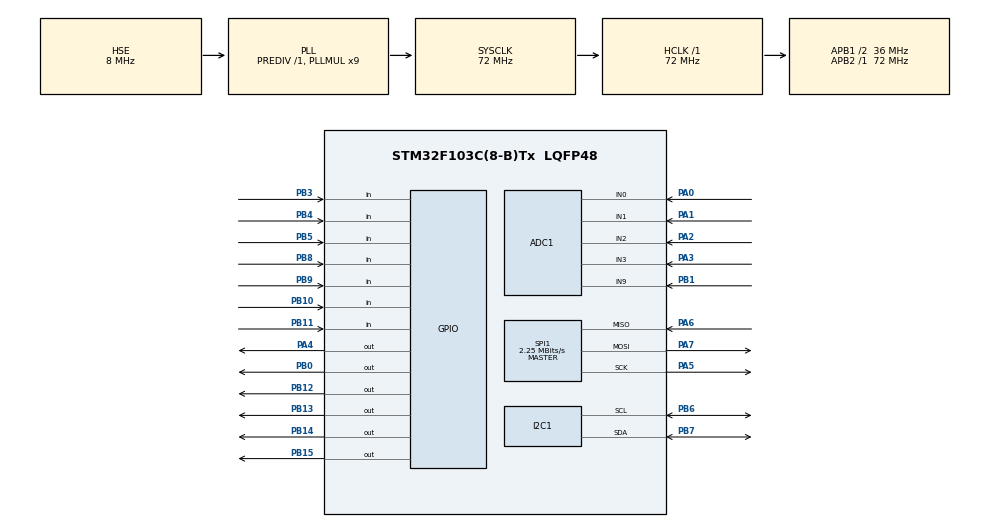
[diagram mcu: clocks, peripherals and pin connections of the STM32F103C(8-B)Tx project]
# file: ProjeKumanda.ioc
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ADC1.Channel-0\#ChannelRegularConversion=ADC_CHANNEL_0
ADC1.Channel-1\#ChannelRegularConversion=ADC_CHANNEL_1
ADC1.Channel-2\#ChannelRegularConversion=ADC_CHANNEL_2
ADC1.Channel-3\#ChannelRegularConversion=ADC_CHANNEL_3
ADC1.Channel-4\#ChannelRegularConversion=ADC_CHANNEL_9
ADC1.ContinuousConvMode=ENABLE
ADC1.NbrOfConversion=5
ADC1.NbrOfConversionFlag=1
ADC1.Rank-0\#ChannelRegularConversion=1
ADC1.Rank-1\#ChannelRegularConversion=2
ADC1.Rank-2\#ChannelRegularConversion=3
ADC1.Rank-3\#ChannelRegularConversion=4
ADC1.Rank-4\#ChannelRegularConversion=5
ADC1.SamplingTime-0\#ChannelRegularConversion=ADC_SAMPLETIME_71CYCLES_5
ADC1.SamplingTime-1\#ChannelRegularConversion=ADC_SAMPLETIME_71CYCLES_5
ADC1.SamplingTime-2\#ChannelRegularConversion=ADC_SAMPLETIME_71CYCLES_5
ADC1.SamplingTime-3\#ChannelRegularConversion=ADC_SAMPLETIME_71CYCLES_5
ADC1.SamplingTime-4\#ChannelRegularConversion=ADC_SAMPLETIME_71CYCLES_5
ADC1.master=1
Dma.ADC1.0.Direction=DMA_PERIPH_TO_MEMORY
Dma.ADC1.0.Instance=DMA1_Channel1
Dma.ADC1.0.MemDataAlignment=DMA_MDATAALIGN_HALFWORD
Dma.ADC1.0.MemInc=DMA_MINC_ENABLE
Dma.ADC1.0.Mode=DMA_CIRCULAR
Dma.ADC1.0.PeriphDataAlignment=DMA_PDATAALIGN_HALFWORD
Dma.ADC1.0.PeriphInc=DMA_PINC_DISABLE
Dma.ADC1.0.Priority=DMA_PRIORITY_LOW
Dma.Request0=ADC1
I2C1.I2C_Mode=I2C_Fast
Mcu.Family=STM32F1
Mcu.Name=STM32F103C(8-B)Tx
Mcu.Package=LQFP48
NVIC.DMA1_Channel1_IRQn=true\:0\:0\:false\:false\:true\:false\:true\:true
NVIC.PriorityGroup=NVIC_PRIORITYGROUP_4
NVIC.TIM2_IRQn=true\:0\:0\:false\:false\:true\:true\:true\:true
PA0-WKUP.Signal=ADCx_IN0
PA1.Signal=ADCx_IN1
PA13.Mode=Serial_Wire
PA13.Signal=SYS_JTMS-SWDIO
PA14.Mode=Serial_Wire
PA14.Signal=SYS_JTCK-SWCLK
PA2.Signal=ADCx_IN2
PA3.Signal=ADCx_IN3
PA4.GPIO_Speed=GPIO_SPEED_FREQ_HIGH
PA4.PinState=GPIO_PIN_SET
PA4.Signal=GPIO_Output
PA5.Mode=Full_Duplex_Master
PA5.Signal=SPI1_SCK
PA6.Mode=Full_Duplex_Master
PA6.Signal=SPI1_MISO
PA7.Mode=Full_Duplex_Master
PA7.Signal=SPI1_MOSI
PB0.GPIO_Speed=GPIO_SPEED_FREQ_LOW
PB0.PinState=GPIO_PIN_RESET
PB0.Signal=GPIO_Output
PB1.Signal=ADCx_IN9
PB10.GPIO_PuPd=GPIO_PULLUP
PB10.Signal=GPIO_Input
PB11.GPIO_PuPd=GPIO_PULLUP
PB11.Signal=GPIO_Input
PB12.Signal=GPIO_Output
PB13.Signal=GPIO_Output
PB14.Signal=GPIO_Output
PB15.Signal=GPIO_Output
PB3.GPIO_PuPd=GPIO_PULLUP
PB3.Signal=GPIO_Input
PB4.GPIO_PuPd=GPIO_PULLUP
PB4.Signal=GPIO_Input
PB5.GPIO_PuPd=GPIO_PULLUP
PB5.Signal=GPIO_Input
PB6.Mode=I2C
PB6.Signal=I2C1_SCL
PB7.Mode=I2C
PB7.Signal=I2C1_SDA
PB8.GPIO_PuPd=GPIO_PULLUP
PB8.Signal=GPIO_Input
PB9.GPIO_PuPd=GPIO_PULLUP
PB9.Signal=GPIO_Input
PD0-OSC_IN.Mode=HSE-External-Oscillator
PD0-OSC_IN.Signal=RCC_OSC_IN
PD1-OSC_OUT.Mode=HSE-External-Oscillator
PD1-OSC_OUT.Signal=RCC_OSC_OUT
ProjectManager.HeapSize=0x200
ProjectManager.StackSize=0x400
ProjectManager.TargetToolchain=STM32CubeIDE
RCC.ADCPresc=RCC_ADCPCLK2_DIV6
RCC.AHBFreq_Value=72000000
RCC.APB1CLKDivider=RCC_HCLK_DIV2
RCC.APB1Freq_Value=36000000
RCC.APB1TimFreq_Value=72000000
RCC.APB2Freq_Value=72000000
RCC.APB2TimFreq_Value=72000000
RCC.HCLKFreq_Value=72000000
RCC.PLLMUL=RCC_PLL_MUL9
RCC.PLLSourceVirtual=RCC_PLLSOURCE_HSE
RCC.SYSCLKFreq_VALUE=72000000
RCC.SYSCLKSource=RCC_SYSCLKSOURCE_PLLCLK
RCC.USBFreq_Value=72000000
SH.ADCx_IN0.0=ADC1_IN0,IN0
SH.ADCx_IN1.0=ADC1_IN1,IN1
SH.ADCx_IN2.0=ADC1_IN2,IN2
SH.ADCx_IN3.0=ADC1_IN3,IN3
SH.ADCx_IN9.0=ADC1_IN9,IN9
SPI1.BaudRatePrescaler=SPI_BAUDRATEPRESCALER_32
SPI1.CLKPhase=SPI_PHASE_1EDGE
SPI1.CalculateBaudRate=2.25 MBits/s
SPI1.Direction=SPI_DIRECTION_2LINES
SPI1.Mode=SPI_MODE_MASTER
SPI1.VirtualType=VM_MASTER
TIM1.Prescaler=71
TIM2.Period=199
TIM2.Prescaler=7199
VP_TIM1_VS_ClockSourceINT.Mode=Internal
VP_TIM2_VS_ClockSourceINT.Mode=Internal
board=custom

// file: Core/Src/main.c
/* USER CODE BEGIN Header */
/**
  ******************************************************************************
  * @file           : main.c
  * @brief          : Main program body
  ******************************************************************************
  * @attention
  *
  * Copyright (c) 2026 STMicroelectronics.
  * All rights reserved.
  *
  * This software is licensed under terms that can be found in the LICENSE file
  * in the root directory of this software component.
  * If no LICENSE file comes with this software, it is provided AS-IS.
  *
  ******************************************************************************
  */
/* USER CODE END Header */
#include "main.h"

/* USER CODE BEGIN Includes */
#include "ssd1306.h"
#include <stdio.h>
#include <string.h>
#include <strings.h>
#include "ssd1306_fonts.h"
#include "NRF24.h"
#include "NRF24_reg_addresses.h"
/* USER CODE END Includes */

ADC_HandleTypeDef hadc1;
DMA_HandleTypeDef hdma_adc1;

I2C_HandleTypeDef hi2c1;

SPI_HandleTypeDef hspi1;

TIM_HandleTypeDef htim1;
TIM_HandleTypeDef htim2;

/* USER CODE BEGIN PV */

//JOYSTICKLERDEN GELEN HAM VERİLERİN KAYDEDİLDİĞİ DİZİNİN KODLARI:
uint16_t adc_degerleri[5];

//JOYSTICKLERDEN GELEN HAM VERİLERİN İŞLENDİKTEN SONRAKİ DEĞİŞKENLERİNİN ADLARI:
int16_t ileriGeriDonusum;
int16_t sagSolDonusum;
int16_t onAmortisorDonusum;
int16_t arkaAmortisorDonusum;

//JOYSTICK BUTONLARININ HAFIZA DEĞİŞKENLERİ:
uint8_t solButonBaslangic = 1;
uint8_t sagButonBaslangic = 1;
uint8_t amortisorButonBaslangic = 1;

//JOYSTICK BUTONLARININ SONUÇ DEĞİŞKENLERİ:
uint8_t solButonGuncel = 0;
uint8_t sagButonGuncel = 0;
uint8_t amortisorButonGuncel = 0;

// 4x4 KEYPAD BASILAN TUŞUN KAYDEDİLDİĞİ DEĞİŞKEN:
uint8_t basilanTus = 0;
uint8_t basilanTusEski = 0;
uint8_t keypadBasiliButon[17] = {0};

//BATARYA VOLTAJININ ATANDIĞI DEĞİŞKEN:
float bataryaVoltaji = 0.0f;

//OLED EKRANIN ARAYÜZ KISMININ KODLARI:
uint8_t aktifSayfa = 1;
uint8_t islemBekleyenTus = 0;
uint8_t ayarModu = 0;

//OLED EKRAN İLK SAYFADAKİ DİNAMİK MESAJ DEĞİŞKENİ:
char altBilgiMesaji[25] = "SISTEM HAZIR";

//AYDINLATMA MENÜSÜ DEĞİŞKENLERİ:
uint8_t aydinlatmaDegerleri[9] = {100, 100, 100, 100, 100, 100, 100, 100, 100};
uint8_t aydinlatmaDurumu[9] = {0, 0, 0, 0, 0, 0, 0, 0, 0};
char *aydinlatmaIsimleri[9] = {
    "1.On Farlar", "2.On Sisler", "3.Sag Sinyal",
    "4.Sol Sinyal", "5.Ic Ambiyans", "6.Bagaj Amb.",
    "7.Arka Stop", "8.Arac Alti", "9.Geri Vites"
};

uint8_t aydinlatmaSeciliSatir = 0;
uint8_t ekranUstLimit = 0;
uint8_t amerikanParkDurumu = 0;

//AYDINLATMA MENÜSÜ ÇAKAR MODU DEĞİŞKENLERİ:
uint8_t cakarModuAktif = 0;
uint32_t cakarZamanlayici = 0;
uint8_t cakarFlasor = 0;

//PARK SENSÖRÜ DEĞİŞKENİ:
uint8_t parkSensoru=0;

//NRF24L01 HABERLEŞME DEĞİŞKENLERİ:
typedef struct __attribute__((packed)) {
    uint8_t guvenlikKodu;      // 1 Byte
    int16_t ileriGeri;         // 2 Byte
    int16_t sagSol;            // 2 Byte
    int16_t onAmortisor;       // 2 Byte
    int16_t arkaAmortisor;     // 2 Byte
    uint8_t isikDurumlari[9];  // 9 Byte
    uint8_t isikParlaklik[9];  // 9 Byte
    uint8_t ekstraButonlar;    // 1 Byte
    uint8_t bosluk[4];         // 4 Byte
} KumandaVerisi;

KumandaVerisi gidenPaket;

//ARAÇTAN GELECEK OLAN TELEMETRİ VERİSİ KISMININ KODLARI:
typedef struct {
    float aracPili;
} TelemetriVerisi;

TelemetriVerisi gelenTelemetri;

uint8_t TxAddress[] = {0xEE, 0xDD, 0xCC, 0xBB, 0xAA};

uint8_t sinyalSeviyesi = 4;
uint16_t kayipPaketSayaci = 0;
/* USER CODE END PV */

void SystemClock_Config(void);
static void MX_GPIO_Init(void);
static void MX_DMA_Init(void);
static void MX_ADC1_Init(void);
static void MX_I2C1_Init(void);
static void MX_SPI1_Init(void);
static void MX_TIM2_Init(void);
static void MX_TIM1_Init(void);
/* USER CODE BEGIN PFP */
int32_t donusumFonksiyonu(int32_t anlikDeger, int32_t minimumGiris, int32_t maksimumGiris, int32_t minimumCikis, int32_t maksimumCikis);
/* USER CODE END PFP */

int main(void)
{

  /* MCU Configuration--------------------------------------------------------*/

  /* Reset of all peripherals, Initializes the Flash interface and the Systick. */
  HAL_Init();

  /* Configure the system clock */
  SystemClock_Config();

  /* Initialize all configured peripherals */
  MX_GPIO_Init();
  MX_DMA_Init();
  MX_ADC1_Init();
  MX_I2C1_Init();
  MX_SPI1_Init();
  MX_TIM2_Init();
  MX_TIM1_Init();
  /* USER CODE BEGIN 2 */
  HAL_ADC_Start_DMA(&hadc1, (uint32_t*)adc_degerleri, 5);
  HAL_TIM_Base_Start_IT(&htim2);
  ssd1306_Init();

    //NRF24 VERİCİ (TX) AYARLARI;
    HAL_GPIO_WritePin(GPIOA, GPIO_PIN_4, GPIO_PIN_SET);
    HAL_Delay(50);

    nrf24_init();
    nrf24_auto_ack_all(1);
    nrf24_auto_retr_limit(10);
    nrf24_auto_retr_delay(2);

    nrf24_tx_pwr(_0dbm);
    nrf24_data_rate(_1mbps);
    nrf24_set_channel(78);
    nrf24_set_crc(en_crc, _1byte);
    nrf24_pipe_pld_size(0, sizeof(KumandaVerisi));

    nrf24_open_tx_pipe(TxAddress);
    nrf24_open_rx_pipe(0, TxAddress);
    nrf24_stop_listen();
  /* USER CODE END 2 */

  /* Infinite loop */
  while (1)
  {

    /* USER CODE BEGIN 3 */

	  //TUŞ KONTROLLERİ VE MENÜ GEZİNTİSİ KISMININ KODU:
	  if(islemBekleyenTus != 0) {

	              //AYAR MODUNDA DEĞİŞKEN SAYFALAR ARASI GEÇİŞİ SAĞLAYAN KOD:
	              if(ayarModu == 0) {

	                  //SAYFALAR ARASI GEÇİŞ KODU:
	                  if(islemBekleyenTus == 12) {
	                      aktifSayfa++;
	                      if(aktifSayfa > 3) aktifSayfa = 1;
	                  }
	                  else if(islemBekleyenTus == 10) {
	                      aktifSayfa--;
	                      if(aktifSayfa < 1) aktifSayfa = 3;
	                  }

	                  //3.SAYFADAYKEN DEVREYE GİREN ALT-ÜST BUTON KISMININ KODU:
	                  else if(aktifSayfa == 3 && islemBekleyenTus == 7) {
	                      if(aydinlatmaSeciliSatir > 0) aydinlatmaSeciliSatir--;
	                      else aydinlatmaSeciliSatir = 8;
	                      if(aydinlatmaSeciliSatir < ekranUstLimit) ekranUstLimit = aydinlatmaSeciliSatir;
	                      else if(aydinlatmaSeciliSatir > ekranUstLimit + 3) ekranUstLimit = aydinlatmaSeciliSatir - 3;
	                  }
	                  else if(aktifSayfa == 3 && islemBekleyenTus == 15) {
	                      if(aydinlatmaSeciliSatir < 8) aydinlatmaSeciliSatir++;
	                      else aydinlatmaSeciliSatir = 0;
	                      if(aydinlatmaSeciliSatir > ekranUstLimit + 3) ekranUstLimit = aydinlatmaSeciliSatir - 3;
	                      else if(aydinlatmaSeciliSatir < ekranUstLimit) ekranUstLimit = aydinlatmaSeciliSatir;
	                  }
	                  else if(aktifSayfa == 3 && islemBekleyenTus == 11) {
	                      ayarModu = 1;
	                  }

	                  //4X4 KEYPAD TUŞLARININ İŞLEVLERİNİN ATANDIĞI KISMIN KODLARI:
	                  //TUŞ 1: ÖN FARLAR
	                  else if(islemBekleyenTus == 1) {
	                      aydinlatmaDurumu[0] = !aydinlatmaDurumu[0];
	                      sprintf(altBilgiMesaji, "FARLAR %s", aydinlatmaDurumu[0] ? "ACIK" : "KAPALI");
	                  }
	                  //TUŞ 2: SİSLER
	                  else if(islemBekleyenTus == 2) {
	                      aydinlatmaDurumu[1] = !aydinlatmaDurumu[1];
	                      sprintf(altBilgiMesaji, "SISLER %s", aydinlatmaDurumu[1] ? "ACIK" : "KAPALI");
	                  }
	                  //TUŞ 3: SAĞ SİNYAL
	                  else if(islemBekleyenTus == 3) {
	                      aydinlatmaDurumu[2] = !aydinlatmaDurumu[2];
	                      sprintf(altBilgiMesaji, "SAG SINYAL %s", aydinlatmaDurumu[2] ? "ACIK" : "KAPALI");
	                  }
	                  //TUŞ 4: SOL SİNYAL
	                  else if(islemBekleyenTus == 4) {
	                      aydinlatmaDurumu[3] = !aydinlatmaDurumu[3];
	                      sprintf(altBilgiMesaji, "SOL SINYAL %s", aydinlatmaDurumu[3] ? "ACIK" : "KAPALI");
	                  }
	                  //TUŞ 5: İÇ AMBİYANS
	                  else if(islemBekleyenTus == 5) {
	                      aydinlatmaDurumu[4] = !aydinlatmaDurumu[4];
	                      sprintf(altBilgiMesaji, "IC AMBIYANS %s", aydinlatmaDurumu[4] ? "ACIK" : "KPL");
	                  }
	                  //TUŞ 6: BAGAJ AMBİYANS
	                  else if(islemBekleyenTus == 6) {
	                      aydinlatmaDurumu[5] = !aydinlatmaDurumu[5];
	                      sprintf(altBilgiMesaji, "BAGAJ %s", aydinlatmaDurumu[5] ? "ACIK" : "KAPALI");
	                  }
	                  //TUŞ 8: ARKA STOP
	                  else if(islemBekleyenTus == 8) {
	                      aydinlatmaDurumu[6] = !aydinlatmaDurumu[6];
	                      sprintf(altBilgiMesaji, "STOPLAR %s", aydinlatmaDurumu[6] ? "ACIK" : "KAPALI");
	                  }
	                  //TUŞ 9: ARAÇ ALTI AYDINLATMA
	                  else if(islemBekleyenTus == 9) {
	                      aydinlatmaDurumu[7] = !aydinlatmaDurumu[7];
	                      sprintf(altBilgiMesaji, "ALT NEON %s", aydinlatmaDurumu[7] ? "ACIK" : "KAPALI");
	                  }
	                  //TUŞ 13: AMERİKAN PARK
	                  else if(islemBekleyenTus == 13) {
	                	  amerikanParkDurumu = !amerikanParkDurumu;
	                	      sprintf(altBilgiMesaji, "AMERIKAN PARK %s", amerikanParkDurumu ? "ACIK" : "KPL");
	                  }
	                  //TUŞ 14: ÇAKAR MODU
	                  else if(islemBekleyenTus == 14) {
	                      cakarModuAktif = !cakarModuAktif;
	                      if(cakarModuAktif) {
	                          sprintf(altBilgiMesaji, "CAKAR MODU AKTIF");
	                      } else {
	                          //ÇAKAR MODUNU KAPATINCA FAR-SİS KOMBİNASYONUNU KAPALI HALE GETİREN KOD:
	                          aydinlatmaDurumu[0] = 0;
	                          aydinlatmaDurumu[1] = 0;
	                          sprintf(altBilgiMesaji, "CAKAR KAPALI");
	                      }
	                  }
	                  else if(islemBekleyenTus == 16) {
	                	  parkSensoru = !parkSensoru;
	                	  sprintf(altBilgiMesaji, "PARK SENSORU %s", parkSensoru ? "ACIK" : "KPL");
	                  }

	              }
	              //AYAR MODUNA GİRİŞ YAPILDIĞINDA SADECE PARLAKLIK AYARININ YAPILABİLDİĞİ KISMIN KODU:
	              else if(ayarModu == 1) {
	                  //PARLAKLIĞI ARTIRAN KOD:
	            	  if(islemBekleyenTus == 12) {
	                      if(aydinlatmaDegerleri[aydinlatmaSeciliSatir] <= 90) {
	                          aydinlatmaDegerleri[aydinlatmaSeciliSatir] += 10;
	                      }
	                  }
	                  //PARLAKLIĞI AZALTAN KOD:
	            	  else if(islemBekleyenTus == 10) {
	                      if(aydinlatmaDegerleri[aydinlatmaSeciliSatir] >= 10) {
	                          aydinlatmaDegerleri[aydinlatmaSeciliSatir] -= 10;
	                      }
	                  }
	                  //AYAR MODUNDAN ÇIKAN TUŞUN KODU:
	            	  else if(islemBekleyenTus == 11) {
	                      ayarModu = 0;
	                  }
	              }

	              islemBekleyenTus = 0;

	        }
                  //GERİ VİTES LAMBASININ YANDIĞI KOD:
	              if(sagSolDonusum < -20) {
	                    aydinlatmaDurumu[8] = 1;
	                } else {
	                    aydinlatmaDurumu[8] = 0;
	                }

	                //ÇAKAR MODU KISMININ KODLARI:
	                if(cakarModuAktif == 1) {

	                    if(HAL_GetTick() - cakarZamanlayici > 70) {
	                        cakarZamanlayici = HAL_GetTick();
	                        cakarFlasor = !cakarFlasor;
                            //FARLARA VE SİSLERE TERLEME YAPTIRAN KISMIN KODU:
	                        aydinlatmaDurumu[0] = cakarFlasor;
	                        aydinlatmaDurumu[1] = !cakarFlasor;
	                    }
	                }

	        //OLED EKRAN ÇİZİMİ KODLARI:
	        ssd1306_Fill(Black);

	        	        //GÖNDERİLECEK VERİ PAKETİNİN HAZIRLANDIĞI KISMIN KODLARI:
	                    gidenPaket.guvenlikKodu = 0x55;
	                    gidenPaket.ileriGeri = ileriGeriDonusum;
	        	        gidenPaket.sagSol = sagSolDonusum;
	        	        gidenPaket.onAmortisor = onAmortisorDonusum;
	        	        gidenPaket.arkaAmortisor = arkaAmortisorDonusum;

	        	        for(int i = 0; i < 9; i++) {
	        	        	gidenPaket.isikDurumlari[i] = aydinlatmaDurumu[i];
	        	        	gidenPaket.isikParlaklik[i] = aydinlatmaDegerleri[i];
	        	        }

	        	        //JOYSTICKLERİN BUTONLARINI VE PARK SENSÖRÜ BUTONUNU TEK BİT İÇERİSİNE SIKIŞTIRMA KISMININ KODLARI:
	        	        gidenPaket.ekstraButonlar = (solButonGuncel) |
	        	        		(sagButonGuncel << 1) |
	        					(amortisorButonGuncel << 2) |
	        					(parkSensoru << 3) |
	        					(amerikanParkDurumu << 4);

	        	        //NRF24 HALF-DUPLEX İLETİŞİM GERÇEKLEŞTİĞİ KISMIN KODLARI:

	        	        //ÖNCE SÜRÜŞ VERİSİNİN GÖNDERİLDİĞİ KISMIN KODLARI:
	        	        nrf24_stop_listen();
	        	        nrf24_pipe_pld_size(0, sizeof(KumandaVerisi));
	        	        nrf24_open_tx_pipe(TxAddress);

	        	        uint8_t hamStatus = nrf24_transmit((uint8_t *)&gidenPaket, sizeof(KumandaVerisi));

	        	        if (hamStatus & (1 << 5)) {
	        	        	kayipPaketSayaci = 0;
	        	        	sinyalSeviyesi = 4;
	        	        } else {
	        	        	kayipPaketSayaci++;

	        	        	if(kayipPaketSayaci > 2)  sinyalSeviyesi = 3;
	        	        	if(kayipPaketSayaci > 5)  sinyalSeviyesi = 2;
	        	        	if(kayipPaketSayaci > 10) sinyalSeviyesi = 1;
	        	        	if(kayipPaketSayaci > 20) {
	        	        		sinyalSeviyesi = 0;
	        	        		if(kayipPaketSayaci > 1000) kayipPaketSayaci = 1000;
	        	        	}
	        	        }

	        	        //SONRASINDA HEMEN ARAÇTAN GELECEK PİL VERİSİNİN DİNLENDİĞİ KISMIN KODLARI:
	        	        nrf24_pipe_pld_size(0, sizeof(TelemetriVerisi));
	        	        nrf24_open_rx_pipe(0, TxAddress);
	        	        nrf24_listen();

	        	        //ARACIN VERİYİ İŞLEYİP GÖNDERMESİ İÇİN GEREKEN DİNLENME SÜRESİ:
	        	        HAL_Delay(10);

	        	        //ARAÇTAN GELEN PİL VERİSİNİN HAFIZAYA KAYDEDİLDİĞİ KISMIN KODU:
	        	        if (nrf24_data_available()) {
	        	        	nrf24_receive((uint8_t *)&gelenTelemetri, sizeof(TelemetriVerisi));
	        	        }

	        	        //OLED EKRAN ÇİZİMİNİN GERÇEKLEŞTİRİLDİĞİ KISMIN KODLARI:
	        	        ssd1306_Fill(Black);

	        	        switch(aktifSayfa) {
	        	        case 1:
	        	                      // --- SAYFA 1 TASARIMI ---
	        	                      ssd1306_SetCursor(1, 3);
	        	                      ssd1306_WriteString("4X4 BY EMIN DESIGN", Font_7x10, White);
	        	                      ssd1306_Line(0, 15, 128, 15, White);

	        	                      //KUMANDA PİL DEĞERLERİ:
	        	                      char voltajYazisi[20];
	        	                      sprintf(voltajYazisi, "K.Pil:%.1fV", bataryaVoltaji);
	        	                      ssd1306_SetCursor(48, 18);
	        	                      ssd1306_WriteString(voltajYazisi, Font_7x10, White);

	        	                      //ARAÇ PİL DEĞERLERİ:
	        	                      char aracPilMetni[15];
	        	                      if(sinyalSeviyesi == 0) {
	        	                    	  sprintf(aracPilMetni, "A.Pil: --- ");
	        	                      } else {
	        	                    	  sprintf(aracPilMetni, "A.Pil:%.1fV", gelenTelemetri.aracPili);
	        	                      }
	        	                      ssd1306_SetCursor(48, 34);
	        	                      ssd1306_WriteString(aracPilMetni, Font_7x10, White);

	        	                      //DİNAMİK SİNYAL ÇUBUKLARI KISMININ KODLARI:
	        	                      ssd1306_SetCursor(0, 18);
	        	                      ssd1306_WriteString("SINYAL", Font_7x10, White);

	        	                      if(sinyalSeviyesi > 0) ssd1306_DrawRectangle(2,  44, 6,  48, White);
	        	                      if(sinyalSeviyesi > 1) ssd1306_DrawRectangle(10, 39, 14, 48, White);
	        	                      if(sinyalSeviyesi > 2) ssd1306_DrawRectangle(18, 34, 22, 48, White);
	        	                      if(sinyalSeviyesi > 3) ssd1306_DrawRectangle(26, 29, 30, 48, White);

	        	                      if(sinyalSeviyesi == 0) {
	        	                    	  ssd1306_Line(2, 34, 30, 48, White);
	        	                    	  ssd1306_Line(30, 34, 2, 48, White);
	        	                      }

	        	                      ssd1306_Line(44, 15, 44, 50, White);

	        	                      //ALT BİLGİ METNİ KISMININ KODLARI:
	        	                      ssd1306_Line(0, 51, 128, 51, White);
	        	                      ssd1306_SetCursor(0, 54);
	        	                      ssd1306_WriteString(altBilgiMesaji, Font_7x10, White);
	        	                      break;

	        	        case 2:
	        	                      // --- SAYFA 2 TASARIMI ---
	        	                      ssd1306_SetCursor(11, 3);
	        	                      ssd1306_WriteString("JOYSTICK VERISI", Font_7x10, White);
	        	                      ssd1306_Line(0, 15, 128, 15, White);

	        	                      int16_t barlar[4] = {sagSolDonusum, ileriGeriDonusum, onAmortisorDonusum, arkaAmortisorDonusum};
	        	                      char *isimler[4] = {"I/G", "S/S", "O.A", "A.A"};

	        	                      for(int i = 0; i < 4; i++) {
	        	                          int y = 18 + (i * 11);
	        	                          ssd1306_SetCursor(0, y);
	        	                          ssd1306_WriteString(isimler[i], Font_7x10, White);

	        	                          ssd1306_Line(74, y, 74, y+8, White);
	        	                          ssd1306_Line(75, y, 75, y+8, White);

	        	                          int val = barlar[i];
	        	                          int genislik = (val < 0 ? -val : val) * 50 / 255;

	        	                          if(val > 0) {
	        	                              for(int j = 0; j < 6; j++) {
	        	                                  ssd1306_Line(77, y + 1 + j, 77 + genislik, y + 1 + j, White);
	        	                              }
	        	                          }
	        	                          else if(val < 0) {
	        	                              for(int j = 0; j < 6; j++) {
	        	                                  ssd1306_Line(72 - genislik, y + 1 + j, 72, y + 1 + j, White);
	        	                              }
	        	                          }
	        	                      }
	        	                      break;

	        	        case 3:
	        	                      // --- SAYFA 3 TASARIMI ---
	        	                      ssd1306_SetCursor(12, 3);
	        	                      ssd1306_WriteString("AYDINLATMA MODU", Font_7x10, White);
	        	                      ssd1306_Line(0, 15, 128, 15, White);

	        	                      for(int i = 0; i < 4; i++) {
	        	                          int satirIndex = ekranUstLimit + i;
	        	                          if(satirIndex > 8) break;

	        	                          int y_kordinat = 18 + (i * 11);

	        	                          if(satirIndex == aydinlatmaSeciliSatir) {
	        	                              ssd1306_SetCursor(0, y_kordinat);
	        	                              if(ayarModu == 1) ssd1306_WriteString("*", Font_7x10, White);
	        	                              else ssd1306_WriteString(">", Font_7x10, White);
	        	                          }

	        	                          ssd1306_SetCursor(10, y_kordinat);
	        	                          ssd1306_WriteString(aydinlatmaIsimleri[satirIndex], Font_7x10, White);

	        	                          char parlaklikYazisi[15];
	        	                          if(aydinlatmaDurumu[satirIndex] == 1) {
	        	                              sprintf(parlaklikYazisi, "[A]%%%d", aydinlatmaDegerleri[satirIndex]);
	        	                          } else {
	        	                              sprintf(parlaklikYazisi, "[K]%%%d", aydinlatmaDegerleri[satirIndex]);
	        	                          }

	        	                          ssd1306_SetCursor(82, y_kordinat);
	        	                          ssd1306_WriteString(parlaklikYazisi, Font_7x10, White);
	        	                      }
	        	                      break;
	        	        }

	        	        ssd1306_UpdateScreen();
	        	        HAL_Delay(40);
  }
  /* USER CODE END 3 */
}

void SystemClock_Config(void)
{
  RCC_OscInitTypeDef RCC_OscInitStruct = {0};
  RCC_ClkInitTypeDef RCC_ClkInitStruct = {0};
  RCC_PeriphCLKInitTypeDef PeriphClkInit = {0};

  /** Initializes the RCC Oscillators according to the specified parameters
  * in the RCC_OscInitTypeDef structure.
  */
  RCC_OscInitStruct.OscillatorType = RCC_OSCILLATORTYPE_HSE;
  RCC_OscInitStruct.HSEState = RCC_HSE_ON;
  RCC_OscInitStruct.HSEPredivValue = RCC_HSE_PREDIV_DIV1;
  RCC_OscInitStruct.HSIState = RCC_HSI_ON;
  RCC_OscInitStruct.PLL.PLLState = RCC_PLL_ON;
  RCC_OscInitStruct.PLL.PLLSource = RCC_PLLSOURCE_HSE;
  RCC_OscInitStruct.PLL.PLLMUL = RCC_PLL_MUL9;
  if (HAL_RCC_OscConfig(&RCC_OscInitStruct) != HAL_OK)
  {
    Error_Handler();
  }

  /** Initializes the CPU, AHB and APB buses clocks
  */
  RCC_ClkInitStruct.ClockType = RCC_CLOCKTYPE_HCLK|RCC_CLOCKTYPE_SYSCLK
                              |RCC_CLOCKTYPE_PCLK1|RCC_CLOCKTYPE_PCLK2;
  RCC_ClkInitStruct.SYSCLKSource = RCC_SYSCLKSOURCE_PLLCLK;
  RCC_ClkInitStruct.AHBCLKDivider = RCC_SYSCLK_DIV1;
  RCC_ClkInitStruct.APB1CLKDivider = RCC_HCLK_DIV2;
  RCC_ClkInitStruct.APB2CLKDivider = RCC_HCLK_DIV1;

  if (HAL_RCC_ClockConfig(&RCC_ClkInitStruct, FLASH_LATENCY_2) != HAL_OK)
  {
    Error_Handler();
  }
  PeriphClkInit.PeriphClockSelection = RCC_PERIPHCLK_ADC;
  PeriphClkInit.AdcClockSelection = RCC_ADCPCLK2_DIV6;
  if (HAL_RCCEx_PeriphCLKConfig(&PeriphClkInit) != HAL_OK)
  {
    Error_Handler();
  }
}

static void MX_ADC1_Init(void)
{

  ADC_ChannelConfTypeDef sConfig = {0};

  /** Common config
  */
  hadc1.Instance = ADC1;
  hadc1.Init.ScanConvMode = ADC_SCAN_ENABLE;
  hadc1.Init.ContinuousConvMode = ENABLE;
  hadc1.Init.DiscontinuousConvMode = DISABLE;
  hadc1.Init.ExternalTrigConv = ADC_SOFTWARE_START;
  hadc1.Init.DataAlign = ADC_DATAALIGN_RIGHT;
  hadc1.Init.NbrOfConversion = 5;
  if (HAL_ADC_Init(&hadc1) != HAL_OK)
  {
    Error_Handler();
  }

  /** Configure Regular Channel
  */
  sConfig.Channel = ADC_CHANNEL_0;
  sConfig.Rank = ADC_REGULAR_RANK_1;
  sConfig.SamplingTime = ADC_SAMPLETIME_71CYCLES_5;
  if (HAL_ADC_ConfigChannel(&hadc1, &sConfig) != HAL_OK)
  {
    Error_Handler();
  }

  /** Configure Regular Channel
  */
  sConfig.Channel = ADC_CHANNEL_1;
  sConfig.Rank = ADC_REGULAR_RANK_2;
  if (HAL_ADC_ConfigChannel(&hadc1, &sConfig) != HAL_OK)
  {
    Error_Handler();
  }

  /** Configure Regular Channel
  */
  sConfig.Channel = ADC_CHANNEL_2;
  sConfig.Rank = ADC_REGULAR_RANK_3;
  if (HAL_ADC_ConfigChannel(&hadc1, &sConfig) != HAL_OK)
  {
    Error_Handler();
  }

  /** Configure Regular Channel
  */
  sConfig.Channel = ADC_CHANNEL_3;
  sConfig.Rank = ADC_REGULAR_RANK_4;
  if (HAL_ADC_ConfigChannel(&hadc1, &sConfig) != HAL_OK)
  {
    Error_Handler();
  }

  /** Configure Regular Channel
  */
  sConfig.Channel = ADC_CHANNEL_9;
  sConfig.Rank = ADC_REGULAR_RANK_5;
  if (HAL_ADC_ConfigChannel(&hadc1, &sConfig) != HAL_OK)
  {
    Error_Handler();
  }

}

static void MX_I2C1_Init(void)
{

  hi2c1.Instance = I2C1;
  hi2c1.Init.ClockSpeed = 400000;
  hi2c1.Init.DutyCycle = I2C_DUTYCYCLE_2;
  hi2c1.Init.OwnAddress1 = 0;
  hi2c1.Init.AddressingMode = I2C_ADDRESSINGMODE_7BIT;
  hi2c1.Init.DualAddressMode = I2C_DUALADDRESS_DISABLE;
  hi2c1.Init.OwnAddress2 = 0;
  hi2c1.Init.GeneralCallMode = I2C_GENERALCALL_DISABLE;
  hi2c1.Init.NoStretchMode = I2C_NOSTRETCH_DISABLE;
  if (HAL_I2C_Init(&hi2c1) != HAL_OK)
  {
    Error_Handler();
  }

}

static void MX_SPI1_Init(void)
{

  /* SPI1 parameter configuration*/
  hspi1.Instance = SPI1;
  hspi1.Init.Mode = SPI_MODE_MASTER;
  hspi1.Init.Direction = SPI_DIRECTION_2LINES;
  hspi1.Init.DataSize = SPI_DATASIZE_8BIT;
  hspi1.Init.CLKPolarity = SPI_POLARITY_LOW;
  hspi1.Init.CLKPhase = SPI_PHASE_1EDGE;
  hspi1.Init.NSS = SPI_NSS_SOFT;
  hspi1.Init.BaudRatePrescaler = SPI_BAUDRATEPRESCALER_32;
  hspi1.Init.FirstBit = SPI_FIRSTBIT_MSB;
  hspi1.Init.TIMode = SPI_TIMODE_DISABLE;
  hspi1.Init.CRCCalculation = SPI_CRCCALCULATION_DISABLE;
  hspi1.Init.CRCPolynomial = 10;
  if (HAL_SPI_Init(&hspi1) != HAL_OK)
  {
    Error_Handler();
  }

}

static void MX_TIM1_Init(void)
{

  TIM_ClockConfigTypeDef sClockSourceConfig = {0};
  TIM_MasterConfigTypeDef sMasterConfig = {0};

  htim1.Instance = TIM1;
  htim1.Init.Prescaler = 71;
  htim1.Init.CounterMode = TIM_COUNTERMODE_UP;
  htim1.Init.Period = 65535;
  htim1.Init.ClockDivision = TIM_CLOCKDIVISION_DIV1;
  htim1.Init.RepetitionCounter = 0;
  htim1.Init.AutoReloadPreload = TIM_AUTORELOAD_PRELOAD_DISABLE;
  if (HAL_TIM_Base_Init(&htim1) != HAL_OK)
  {
    Error_Handler();
  }
  sClockSourceConfig.ClockSource = TIM_CLOCKSOURCE_INTERNAL;
  if (HAL_TIM_ConfigClockSource(&htim1, &sClockSourceConfig) != HAL_OK)
  {
    Error_Handler();
  }
  sMasterConfig.MasterOutputTrigger = TIM_TRGO_RESET;
  sMasterConfig.MasterSlaveMode = TIM_MASTERSLAVEMODE_DISABLE;
  if (HAL_TIMEx_MasterConfigSynchronization(&htim1, &sMasterConfig) != HAL_OK)
  {
    Error_Handler();
  }

}

static void MX_TIM2_Init(void)
{

  TIM_ClockConfigTypeDef sClockSourceConfig = {0};
  TIM_MasterConfigTypeDef sMasterConfig = {0};

  htim2.Instance = TIM2;
  htim2.Init.Prescaler = 7199;
  htim2.Init.CounterMode = TIM_COUNTERMODE_UP;
  htim2.Init.Period = 199;
  htim2.Init.ClockDivision = TIM_CLOCKDIVISION_DIV1;
  htim2.Init.AutoReloadPreload = TIM_AUTORELOAD_PRELOAD_DISABLE;
  if (HAL_TIM_Base_Init(&htim2) != HAL_OK)
  {
    Error_Handler();
  }
  sClockSourceConfig.ClockSource = TIM_CLOCKSOURCE_INTERNAL;
  if (HAL_TIM_ConfigClockSource(&htim2, &sClockSourceConfig) != HAL_OK)
  {
    Error_Handler();
  }
  sMasterConfig.MasterOutputTrigger = TIM_TRGO_RESET;
  sMasterConfig.MasterSlaveMode = TIM_MASTERSLAVEMODE_DISABLE;
  if (HAL_TIMEx_MasterConfigSynchronization(&htim2, &sMasterConfig) != HAL_OK)
  {
    Error_Handler();
  }

}

static void MX_DMA_Init(void)
{

  /* DMA controller clock enable */
  __HAL_RCC_DMA1_CLK_ENABLE();

  /* DMA interrupt init */
  /* DMA1_Channel1_IRQn interrupt configuration */
  HAL_NVIC_SetPriority(DMA1_Channel1_IRQn, 0, 0);
  HAL_NVIC_EnableIRQ(DMA1_Channel1_IRQn);

}

static void MX_GPIO_Init(void)
{
  GPIO_InitTypeDef GPIO_InitStruct = {0};

  /* GPIO Ports Clock Enable */
  __HAL_RCC_GPIOD_CLK_ENABLE();
  __HAL_RCC_GPIOA_CLK_ENABLE();
  __HAL_RCC_GPIOB_CLK_ENABLE();

  /*Configure GPIO pin Output Level */
  HAL_GPIO_WritePin(GPIOA, GPIO_PIN_4, GPIO_PIN_SET);

  /*Configure GPIO pin Output Level */
  HAL_GPIO_WritePin(GPIOB, GPIO_PIN_0|GPIO_PIN_12|GPIO_PIN_13|GPIO_PIN_14
                          |GPIO_PIN_15, GPIO_PIN_RESET);

  /*Configure GPIO pin : PA4 */
  GPIO_InitStruct.Pin = GPIO_PIN_4;
  GPIO_InitStruct.Mode = GPIO_MODE_OUTPUT_PP;
  GPIO_InitStruct.Pull = GPIO_NOPULL;
  GPIO_InitStruct.Speed = GPIO_SPEED_FREQ_HIGH;
  HAL_GPIO_Init(GPIOA, &GPIO_InitStruct);

  /*Configure GPIO pins : PB0 PB12 PB13 PB14
                           PB15 */
  GPIO_InitStruct.Pin = GPIO_PIN_0|GPIO_PIN_12|GPIO_PIN_13|GPIO_PIN_14
                          |GPIO_PIN_15;
  GPIO_InitStruct.Mode = GPIO_MODE_OUTPUT_PP;
  GPIO_InitStruct.Pull = GPIO_NOPULL;
  GPIO_InitStruct.Speed = GPIO_SPEED_FREQ_LOW;
  HAL_GPIO_Init(GPIOB, &GPIO_InitStruct);

  /*Configure GPIO pins : PB10 PB11 PB3 PB4
                           PB5 PB8 PB9 */
  GPIO_InitStruct.Pin = GPIO_PIN_10|GPIO_PIN_11|GPIO_PIN_3|GPIO_PIN_4
                          |GPIO_PIN_5|GPIO_PIN_8|GPIO_PIN_9;
  GPIO_InitStruct.Mode = GPIO_MODE_INPUT;
  GPIO_InitStruct.Pull = GPIO_PULLUP;
  HAL_GPIO_Init(GPIOB, &GPIO_InitStruct);

}

/* USER CODE BEGIN 4 */

//HAM OLARAK ALINAN DEĞERLERİN İŞLENDİĞİ FONKSİYONUN KODLARI:
int32_t donusumFonksiyonu(int32_t anlikDeger, int32_t minimumGiris, int32_t maksimumGiris, int32_t minimumCikis, int32_t maksimumCikis){
	return (anlikDeger - minimumGiris) * (maksimumCikis - minimumCikis) / (maksimumGiris - minimumGiris) + minimumCikis;
}

void HAL_TIM_PeriodElapsedCallback(TIM_HandleTypeDef *htim)
{
    if(htim->Instance == TIM2)
    {
    	//HAM DEĞERLERİN İŞLENDİĞİ KISMIN KODLARI:
        ileriGeriDonusum = donusumFonksiyonu(adc_degerleri[0], 50, 4045, -255, 255);
        sagSolDonusum = donusumFonksiyonu(adc_degerleri[1], 50, 4045, -255, 255);
        onAmortisorDonusum = donusumFonksiyonu(adc_degerleri[2], 50, 4045, -255, 255);
        arkaAmortisorDonusum = donusumFonksiyonu(adc_degerleri[3], 50, 4045, -255, 255);
        bataryaVoltaji = (adc_degerleri[4] * 3.3f * (14.7f / 4.7f)) / 4095.0f;

        //ÜST ÖLÜ BÖLGENİN SIFIRLANDIĞI KISMIN KODLARI:
        if(ileriGeriDonusum > 255) {
            ileriGeriDonusum = 255;
        }
        else if(ileriGeriDonusum < -255) {
            ileriGeriDonusum = -255;
        }

        if(sagSolDonusum > 255) {
            sagSolDonusum = 255;
        }
        else if(sagSolDonusum < -255) {
            sagSolDonusum = -255;
        }

        if(onAmortisorDonusum > 255) {
            onAmortisorDonusum = 255;
        }
        else if(onAmortisorDonusum < -255) {
            onAmortisorDonusum = -255;
        }

        if(arkaAmortisorDonusum > 255) {
            arkaAmortisorDonusum = 255;
        }
        else if(arkaAmortisorDonusum < -255) {
            arkaAmortisorDonusum = -255;
        }

        //ALT ÖLÜ BÖLGENİN SIFIRLANDIĞI KISMIN KODLARI:
        if(ileriGeriDonusum > -20 && ileriGeriDonusum < 20) {
        	ileriGeriDonusum = 0;
        }
        if(sagSolDonusum > -20 && sagSolDonusum < 20) {
        	sagSolDonusum = 0;
        }
        if(onAmortisorDonusum > -20 && onAmortisorDonusum < 20) {
        	onAmortisorDonusum = 0;
        }
        if(arkaAmortisorDonusum > -20 && arkaAmortisorDonusum < 20) {
        	arkaAmortisorDonusum = 0;
        }

        //JOYSTICK BUTONLARININ OKUNDUĞU KISMIN KODLARI:
        uint8_t anlikOkuma;

        anlikOkuma = HAL_GPIO_ReadPin(GPIOB, GPIO_PIN_3);
        if(anlikOkuma == 0 && solButonBaslangic == 1) {
            solButonGuncel = !solButonGuncel;
        }
        solButonBaslangic = anlikOkuma;

        anlikOkuma = HAL_GPIO_ReadPin(GPIOB, GPIO_PIN_4);
        if(anlikOkuma == 0 && sagButonBaslangic == 1) {
            sagButonGuncel = !sagButonGuncel;
        }
        sagButonBaslangic = anlikOkuma;

        anlikOkuma = HAL_GPIO_ReadPin(GPIOB, GPIO_PIN_5);
        if(anlikOkuma == 0 && amortisorButonBaslangic == 1) {
            amortisorButonGuncel = !amortisorButonGuncel;
        }
        amortisorButonBaslangic = anlikOkuma;

        //4X4 KEYPAD TUŞLARININ TARAMA YÖNTEMİYLE TESPİT EDİLDİĞİ KISMIN KODLARI:
                HAL_GPIO_WritePin(GPIOB, GPIO_PIN_12, GPIO_PIN_SET);
                HAL_GPIO_WritePin(GPIOB, GPIO_PIN_13, GPIO_PIN_SET);
                HAL_GPIO_WritePin(GPIOB, GPIO_PIN_14, GPIO_PIN_SET);
                HAL_GPIO_WritePin(GPIOB, GPIO_PIN_15, GPIO_PIN_SET);

                basilanTus = 0;

                //1.SATIRIN TARANDIĞI KISMIN KODLARI:
                HAL_GPIO_WritePin(GPIOB, GPIO_PIN_12, GPIO_PIN_RESET);
                if(HAL_GPIO_ReadPin(GPIOB, GPIO_PIN_8) == 0)  basilanTus = 16;
                if(HAL_GPIO_ReadPin(GPIOB, GPIO_PIN_9) == 0)  basilanTus = 15;
                if(HAL_GPIO_ReadPin(GPIOB, GPIO_PIN_10) == 0) basilanTus = 14;
                if(HAL_GPIO_ReadPin(GPIOB, GPIO_PIN_11) == 0) basilanTus = 13;
                HAL_GPIO_WritePin(GPIOB, GPIO_PIN_12, GPIO_PIN_SET);

                //2.SATIRIN TARANDIĞI KISMIN KODLARI:
                HAL_GPIO_WritePin(GPIOB, GPIO_PIN_13, GPIO_PIN_RESET);
                if(HAL_GPIO_ReadPin(GPIOB, GPIO_PIN_8) == 0)  basilanTus = 12;
                if(HAL_GPIO_ReadPin(GPIOB, GPIO_PIN_9) == 0)  basilanTus = 11;
                if(HAL_GPIO_ReadPin(GPIOB, GPIO_PIN_10) == 0) basilanTus = 10;
                if(HAL_GPIO_ReadPin(GPIOB, GPIO_PIN_11) == 0) basilanTus = 9;
                HAL_GPIO_WritePin(GPIOB, GPIO_PIN_13, GPIO_PIN_SET);

                //3.SATIRIN TARANDIĞI KISMIN KODLARI:
                HAL_GPIO_WritePin(GPIOB, GPIO_PIN_14, GPIO_PIN_RESET);
                if(HAL_GPIO_ReadPin(GPIOB, GPIO_PIN_8) == 0)  basilanTus = 8;
                if(HAL_GPIO_ReadPin(GPIOB, GPIO_PIN_9) == 0)  basilanTus = 7;
                if(HAL_GPIO_ReadPin(GPIOB, GPIO_PIN_10) == 0) basilanTus = 6;
                if(HAL_GPIO_ReadPin(GPIOB, GPIO_PIN_11) == 0) basilanTus = 5;
                HAL_GPIO_WritePin(GPIOB, GPIO_PIN_14, GPIO_PIN_SET);

                //4.SATIRIN TARANDIĞI KISMIN KODLARI:
                HAL_GPIO_WritePin(GPIOB, GPIO_PIN_15, GPIO_PIN_RESET);
                if(HAL_GPIO_ReadPin(GPIOB, GPIO_PIN_8) == 0)  basilanTus = 4;
                if(HAL_GPIO_ReadPin(GPIOB, GPIO_PIN_9) == 0)  basilanTus = 3;
                if(HAL_GPIO_ReadPin(GPIOB, GPIO_PIN_10) == 0) basilanTus = 2;
                if(HAL_GPIO_ReadPin(GPIOB, GPIO_PIN_11) == 0) basilanTus = 1;
                HAL_GPIO_WritePin(GPIOB, GPIO_PIN_15, GPIO_PIN_SET);

                //TUŞ DEĞERLERİNİN DEĞİŞKENE KAYDEDİLDİĞİ KISMIN KODU:
                if(basilanTus != 0 && basilanTusEski == 0) {
                	keypadBasiliButon[basilanTus] = !keypadBasiliButon[basilanTus];

                	islemBekleyenTus = basilanTus;
                }

                basilanTusEski = basilanTus;
    }
}
/* USER CODE END 4 */

void Error_Handler(void)
{
  __disable_irq();
  while (1)
  {
  }
}
